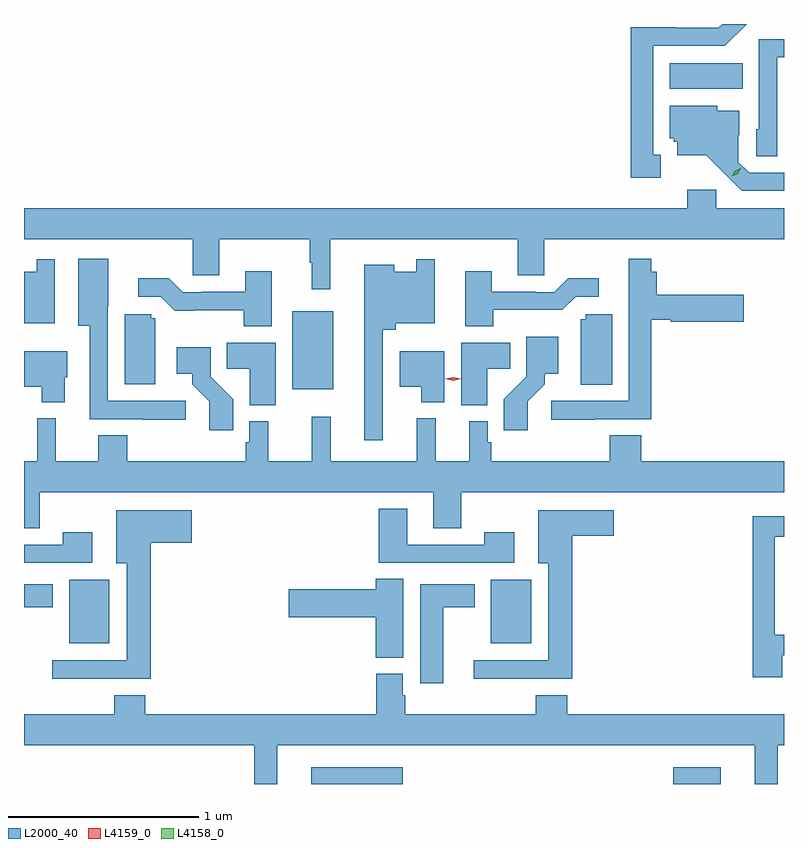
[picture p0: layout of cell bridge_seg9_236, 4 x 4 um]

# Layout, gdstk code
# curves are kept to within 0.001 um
import gdstk
lib = gdstk.Library(unit=1e-6, precision=1e-09)
def R(c, l, rs):  # rectangles x0, y0, x1, y1
    for r in rs: c.add(gdstk.rectangle(r[:2], r[2:], *l))
def P(c, l, *ps):  # polygons
    for p in ps: c.add(gdstk.Polygon(p, *l))
L2000_40 = (2000, 40)
L4158_0 = (4158, 0)
L4159_0 = (4159, 0)

bridge_seg9_236 = lib.new_cell('bridge_seg9_236')
R(bridge_seg9_236, L2000_40, [(264.023,1193.553,264.505,1193.641), (265.928,1193.553,266.179,1193.641), (262.748,1194.293,262.96,1194.628), (264.968,1194.293,265.18,1194.628), (262.511,1194.482,262.663,1194.604), (263.924,1195.631,264.139,1196.041), (265.91,1197.212,266.294,1197.346)])
P(bridge_seg9_236, L2000_40, [(265.861,1196.865),(265.822,1196.865),(265.822,1197.438),(266.199,1197.438),(266.314,1197.553),(266.185,1197.553),(266.166,1197.534),(265.944,1197.534),(265.944,1197.536),(265.704,1197.536),(265.704,1196.745),(265.861,1196.745)],
  [(266.475,1197.377),(266.511,1197.377),(266.511,1197.474),(266.379,1197.474),(266.379,1197),(266.364,1197),(266.364,1196.857),(266.475,1196.857)],
  [(266.511,1196.769),(266.328,1196.769),(266.271,1196.826),(266.271,1196.968),(266.275,1196.968),(266.275,1197.097),(266.16,1197.097),(266.16,1197.124),(265.91,1197.124),(265.91,1196.952),(265.932,1196.952),(265.932,1196.934),(265.949,1196.934),(265.949,1196.861),(266.101,1196.861),(266.288,1196.676),(266.511,1196.676)],
  [(264.124,1196.42),(265.109,1196.42),(265.109,1196.23),(265.248,1196.23),(265.248,1196.42),(266.511,1196.42),(266.511,1196.584),(266.154,1196.584),(266.154,1196.68),(266.003,1196.68),(266.003,1196.584),(262.511,1196.584),(262.511,1196.42),(263.4,1196.42),(263.4,1196.23),(263.539,1196.23),(263.539,1196.42),(264.015,1196.42),(264.015,1196.297),(264.026,1196.297),(264.026,1196.157),(264.124,1196.157)],
  [(263.362,1195.569),(262.953,1195.569),(262.953,1196.068),(262.954,1196.068),(262.954,1196.317),(262.796,1196.317),(262.796,1195.964),(262.857,1195.964),(262.857,1195.473),(263.137,1195.473),(263.137,1195.471),(263.362,1195.471)],
  [(265.511,1195.473),(265.811,1195.473),(265.811,1195.997),(265.914,1195.997),(265.914,1195.985),(266.299,1195.985),(266.299,1196.127),(265.841,1196.127),(265.841,1196.248),(265.811,1196.248),(265.811,1196.317),(265.695,1196.317),(265.695,1195.569),(265.287,1195.569),(265.287,1195.471),(265.511,1195.471)],
  [(264.399,1195.943),(264.468,1195.943),(264.468,1195.979),(264.672,1195.979),(264.672,1196.314),(264.576,1196.314),(264.576,1196.248),(264.46,1196.248),(264.46,1196.287),(264.302,1196.287),(264.302,1195.362),(264.399,1195.362)],
  [(262.674,1196.314),(262.578,1196.314),(262.578,1196.248),(262.511,1196.248),(262.511,1195.979),(262.674,1195.979)],
  [(263.815,1196.251),(263.675,1196.251),(263.675,1196.145),(263.446,1196.145),(263.446,1196.142),(263.346,1196.142),(263.273,1196.215),(263.112,1196.215),(263.112,1196.118),(263.232,1196.118),(263.305,1196.045),(263.668,1196.046),(263.668,1195.961),(263.815,1195.961)],
  [(264.981,1196.048),(265.345,1196.048),(265.416,1196.118),(265.537,1196.118),(265.537,1196.215),(265.375,1196.215),(265.302,1196.142),(265.202,1196.142),(265.202,1196.145),(264.973,1196.145),(264.973,1196.251),(264.833,1196.251),(264.833,1195.961),(264.981,1195.961)],
  [(265.606,1196.025),(265.467,1196.025),(265.467,1195.998),(265.442,1195.998),(265.442,1195.654),(265.606,1195.654)],
  [(263.203,1196.004),(263.181,1196.004),(263.181,1196.025),(263.042,1196.025),(263.042,1195.656),(263.203,1195.656)],
  [(265.162,1195.567),(265.252,1195.657),(265.252,1195.712),(265.324,1195.712),(265.324,1195.906),(265.155,1195.906),(265.155,1195.697),(265.036,1195.578),(265.036,1195.416),(265.162,1195.416)],
  [(263.836,1195.876),(263.578,1195.876),(263.578,1195.738),(263.699,1195.738),(263.699,1195.547),(263.836,1195.547)],
  [(264.949,1195.738),(265.07,1195.738),(265.07,1195.876),(264.812,1195.876),(264.812,1195.547),(264.949,1195.547)],
  [(263.612,1195.578),(263.493,1195.697),(263.493,1195.852),(263.316,1195.852),(263.316,1195.712),(263.396,1195.712),(263.396,1195.657),(263.487,1195.567),(263.487,1195.416),(263.612,1195.416)],
  [(262.726,1195.695),(262.738,1195.695),(262.738,1195.831),(262.511,1195.831),(262.511,1195.643),(262.604,1195.643),(262.604,1195.562),(262.726,1195.562)],
  [(264.724,1195.831),(264.488,1195.831),(264.488,1195.643),(264.602,1195.643),(264.602,1195.562),(264.724,1195.562)],
  [(262.593,1195.088),(264.665,1195.088),(264.665,1194.898),(264.813,1194.898),(264.813,1195.088),(266.511,1195.088),(266.511,1195.252),(265.76,1195.252),(265.76,1195.388),(265.595,1195.388),(265.595,1195.252),(264.971,1195.252),(264.971,1195.353),(264.951,1195.353),(264.951,1195.462),(264.854,1195.462),(264.854,1195.252),(264.677,1195.252),(264.677,1195.477),(264.578,1195.477),(264.578,1195.252),(264.125,1195.252),(264.125,1195.486),(264.025,1195.486),(264.025,1195.252),(263.796,1195.252),(263.796,1195.462),(263.697,1195.462),(263.697,1195.353),(263.677,1195.353),(263.677,1195.252),(263.054,1195.252),(263.054,1195.388),(262.901,1195.388),(262.901,1195.252),(262.679,1195.252),(262.679,1195.477),(262.58,1195.477),(262.58,1195.252),(262.511,1195.252),(262.511,1194.898),(262.593,1194.898)],
  [(265.09,1194.877),(264.934,1194.877),(264.934,1194.813),(264.529,1194.813),(264.529,1195.003),(264.377,1195.003),(264.377,1194.717),(265.09,1194.717)],
  [(263.177,1194.824),(263.395,1194.824),(263.395,1194.994),(262.997,1194.994),(262.997,1194.716),(263.051,1194.716),(263.051,1194.204),(262.659,1194.204),(262.659,1194.107),(263.177,1194.107)],
  [(265.397,1194.86),(265.615,1194.86),(265.615,1194.994),(265.217,1194.994),(265.217,1194.716),(265.271,1194.716),(265.271,1194.204),(264.879,1194.204),(264.879,1194.107),(265.397,1194.107)],
  [(266.503,1194.231),(266.511,1194.231),(266.511,1194.339),(266.463,1194.339),(266.463,1194.855),(266.511,1194.855),(266.511,1194.961),(266.347,1194.961),(266.347,1194.114),(266.503,1194.114)],
  [(262.87,1194.877),(262.714,1194.877),(262.714,1194.813),(262.511,1194.813),(262.511,1194.717),(262.87,1194.717)],
  [(264.508,1194.632),(264.362,1194.632),(264.362,1194.578),(263.904,1194.578),(263.904,1194.431),(264.362,1194.431),(264.362,1194.217),(264.508,1194.217)],
  [(264.718,1194.482),(264.883,1194.482),(264.883,1194.604),(264.596,1194.604),(264.596,1194.084),(264.718,1194.084)],
  [(263.845,1193.756),(266.357,1193.756),(266.357,1193.553),(266.479,1193.553),(266.479,1193.756),(266.511,1193.756),(266.511,1193.92),(265.37,1193.92),(265.37,1194.019),(265.205,1194.019),(265.205,1193.92),(264.518,1193.92),(264.518,1194.021),(264.505,1194.021),(264.505,1194.132),(264.365,1194.132),(264.365,1193.92),(263.15,1193.92),(263.15,1194.019),(262.985,1194.019),(262.985,1193.92),(262.511,1193.92),(262.511,1193.756),(263.724,1193.756),(263.724,1193.553),(263.845,1193.553)])
P(bridge_seg9_236, L4158_0, [(266.236,1196.751),(266.236,1196.751),(266.254,1196.781),(266.285,1196.796),(266.285,1196.796),(266.285,1196.796),(266.267,1196.766),(266.237,1196.751)])
P(bridge_seg9_236, L4159_0, [(264.769,1195.675),(264.728,1195.685),(264.728,1195.685),(264.728,1195.686),(264.769,1195.695),(264.809,1195.686),(264.809,1195.685),(264.809,1195.685)])

lib.write_gds('bridge_seg9_236.gds')
